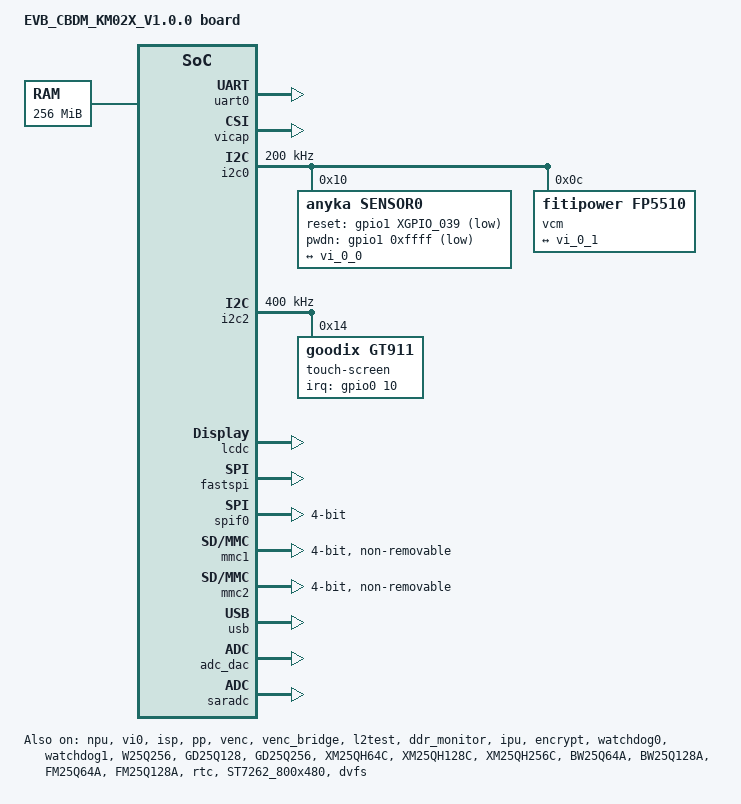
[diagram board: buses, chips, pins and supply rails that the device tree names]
// SPDX-License-Identifier: (GPL-2.0 OR MIT)
/* Copyright (c) 2020-2021 ANYKA, Inc */

#include "ak_km02-common.dtsi"
#include "ak_km02-norflash.dtsi"
#include "ak_lcd.dtsi"
#include "anycloud_ak3918av200_pinctrl.dtsi"

#define RESERVED_NPU_COMMNC_BASE      0x41400000
#define RESERVED_NPU_COMMNC_SIZE      0x8000 // 32KB
#define RESERVED_NPU_RUN_BASE         0x41408000
#define RESERVED_NPU_RUN_SIZE         0x2000000 // 16MB
#define RESERVED_ION_BASE             0x43408000
#define RESERVED_ION_SIZE             0x7000000 // 112MB
#define RESERVED_CMA_BASE             0x4a408000
#define RESERVED_CMA_SIZE             0x400000 // 4MB
//#define AK_PWR_CONSUMPTION_TEST

#define IMU 0

/* Clock frequency (in Hz) of the PCB crystal for rtcclk */
#define RTCCLK_FREQ		1000000

/ {
	#address-cells = <2>;
	#size-cells = <2>;
	model = "EVB_CBDM_KM02X_V1.0.0 board";
	compatible = "sifive,hifive-unleashed-a00", "sifive,fu540-c000";

	chosen {
		stdout-path = "serial0";
		/* Align with config_av200_256MB_action_camera_spinor_spl_fastsys.txt (16MB SPL, afht on SD) */
		bootargs = "console=ttySAK0,115200n8 root=/dev/mtdblock6 rootfstype=squashfs init=/sbin/init mtdparts=spi0.0:128K@0x0(SPL),128K@0x20000(OPENSBI),4K@0x40000(ENV),4K@0x41000(ENVBK),64K@0x42000(DTB),3584K@0x52000(KERNEL),3072K@0x3D2000(ROOTFS),512K@0x6D2000(CONFIG),8880K@0x752000(APP) mem=256M";
    };

	cpus {
		timebase-frequency = <RTCCLK_FREQ>;
	};

	memory@40000000 {
		device_type = "memory";
		reg =  <0x0 0x40000000 0x0 0x10000000>; /* 256M DDR Memory*/
	};

    /* Celestia SPL fastsys: no kernel isp_quick_start (see nova FASTSYS_LCD dts). */
    quick_start: quick_start {
        compatible = "anyka,isp_quick_start";
        status = "disable";
    };

	soc {
	};

	hfclk: hfclk {
		#clock-cells = <0>;
		compatible = "fixed-clock";
		clock-frequency = <33333333>;
		clock-output-names = "hfclk";
	};

	rtcclk: rtcclk {
		#clock-cells = <0>;
		compatible = "fixed-clock";
		clock-frequency = <RTCCLK_FREQ>;
		clock-output-names = "rtcclk";
	};

	reserved-memory {
        #address-cells = <2>;
        #size-cells = <2>;
        ranges;

        npu_commnc_reserved: npu_commnc_reserved@RESERVED_NPU_COMMNC_BASE {
	        size = <RESERVED_NPU_COMMNC_SIZE>;
	        reg = <0x0 RESERVED_NPU_COMMNC_BASE 0x0 RESERVED_NPU_COMMNC_SIZE>;
	        status = "okay";
	    };

        npu_run_reserved: npu_run_reserved@RESERVED_NPU_RUN_BASE {
	        size = <RESERVED_NPU_RUN_SIZE>;
	        reg = <0x0 RESERVED_NPU_RUN_BASE 0x0 RESERVED_NPU_RUN_SIZE>;
	        status = "okay";
	    };

        carveout_reserved: carveout_reserved@RESERVED_ION_BASE {
            // compatible = "shared-dma-pool";
            // linux,cma-default;
            // reusable;
            size = <RESERVED_ION_SIZE>;
            reg = <0x0 RESERVED_ION_BASE 0x0 RESERVED_ION_SIZE>;
            status = "okay";
        };

        cma_reserved: cma_reserved@RESERVED_CMA_BASE {
	        size = <RESERVED_CMA_SIZE>;
	        reg = <0x0 RESERVED_CMA_BASE 0x0 RESERVED_CMA_SIZE>;
	        status = "okay";
	    };        

        ramdisk_reserved: ramdisk_reserved@RESERVED_ION_BASE {
            size = <RESERVED_ION_SIZE>;
            reg = <0x0 RESERVED_ION_BASE 0x0 RESERVED_ION_SIZE>;
            /* Squashfs boot: no initrd; disable to avoid overlap with carveout_reserved */
            status = "disabled";
        };
	};

	ion {
		compatible = "anyka,ak3918av200-ion-reserve";
		#address-cells = <2>;
		#size-cells = <2>;
		memory-region = <&carveout_reserved>;
		ranges;

		ion_carveout_heap: ion_carveout_heap {
			base-address = <0x0 RESERVED_ION_BASE>;
			size = <0x0 RESERVED_ION_SIZE>;
			status = "okay";
		};
	};

	ramdisk:ramdisk@00000000{
		compatible = "anyka,ak3918av200-ramdisk";
		memory-region = <&ramdisk_reserved>;
		status = "disabled";
	};
};

&pinctrl {
	/**
	* "anyka,function": func index, please refer to dt-bindings/pinctrl/ak3918av200_pinctrl.h
	* "anyka,pull": configuration of the pins
	* Driving selector:
	* 	GPIO[54:35]: only select DRIVE_SEL0~DRIVE_SEL3
	*	GPIO[54:35]: select DRIVE_SEL0~DRIVE_SEL7
	* Delay config:
	*	DELAY(x), x is delay time, level1 corresponds to 10ps
	*/

	ethernet_rmii_pins: ethernet_rmii_pins {
		anyka,pins = <	XGPIO_006
						XGPIO_002
						XGPIO_003
						XGPIO_000
						XGPIO_001
						XGPIO_009
						XGPIO_008
						XGPIO_007
						XGPIO_005
						XGPIO_004>;
		anyka,function = <	XGPIO_006_FUNC_RMII_OPCLK
							XGPIO_002_FUNC_RMII_RXER
							XGPIO_003_FUNC_RMII_RXDV
							XGPIO_000_FUNC_RMII_MDIO
							XGPIO_001_FUNC_RMII_MDC
							XGPIO_009_FUNC_RMII_TEEN
							XGPIO_008_FUNC_RMII_TXD1
							XGPIO_007_FUNC_RMII_TXD0
							XGPIO_005_FUNC_RMII_RXD1
							XGPIO_004_FUNC_RMII_RXD0>;
		anyka,pull = <	(INPUT_EN|SLEW_EN|DRIVE_SEL7)
						(INPUT_EN|SLEW_EN|PULL_DOWN|PULL_DOWN_EN|DRIVE_SEL0)
						(INPUT_EN|SLEW_EN|PULL_DOWN|PULL_DOWN_EN|DRIVE_SEL0)
						(INPUT_EN|SLEW_EN|PULL_UP|PULL_UP_EN|DRIVE_SEL0)
						(INPUT_EN|SLEW_EN|PULL_DOWN|PULL_DOWN_EN|DRIVE_SEL0)
						(INPUT_EN|SLEW_EN|PULL_DOWN|PULL_DOWN_EN|DRIVE_SEL0)
						(INPUT_EN|PULL_DOWN|PULL_DOWN_EN|DRIVE_SEL0)
						(INPUT_EN|PULL_DOWN|PULL_DOWN_EN|DRIVE_SEL0)
						(INPUT_EN|SLEW_EN|PULL_DOWN|PULL_DOWN_EN|DRIVE_SEL0)
						(INPUT_EN|SLEW_EN|PULL_DOWN|PULL_DOWN_EN|DRIVE_SEL0)>;
	};

	// ethernet_rst_pins: ethernet_rst_pins {
	// 	anyka,pins = <XGPIO_019>;
	// 	anyka,function = <XGPIO_019_FUNC_GPIO19>;
	// 	anyka,pull = <(PULL_UP|INPUT_EN|PULL_UP_EN)>;
	// };

	mci1_pins: mci1_pins {
		anyka,pins = <XGPIO_027
						XGPIO_028
						XGPIO_029
						XGPIO_030
						XGPIO_031
						XGPIO_032>;
		anyka,function = <XGPIO_027_FUNC_SDIO0_DATA1
							XGPIO_028_FUNC_SDIO0_DATA0
							XGPIO_029_FUNC_SDIO0_CLK
							XGPIO_030_FUNC_SDIO0_CMD
							XGPIO_031_FUNC_SDIO0_DATA3
							XGPIO_032_FUNC_SDIO0_DATA2>;
		anyka,pull = <(INPUT_EN | PULL_UP | PULL_UP_EN)
						(INPUT_EN  | PULL_UP | PULL_UP_EN)
						(INPUT_EN | PULL_UP | PULL_UP_EN)
						(INPUT_EN | PULL_UP | PULL_UP_EN)
						(INPUT_EN | PULL_UP | PULL_UP_EN)
						(INPUT_EN | PULL_UP | PULL_UP_EN)>;
	};


	/*
	   when not use tf card, set to idle state,
	   to protect tf card and extend it's life.
	*/
	mci1_idle_pins: mci1_idle_pins {
		anyka,pins = <XGPIO_027
						XGPIO_028
						XGPIO_029
						XGPIO_030
						XGPIO_031
						XGPIO_032>;
		anyka,function = <XGPIO_027_FUNC_GPIO27
							XGPIO_028_FUNC_GPIO28
							XGPIO_029_FUNC_GPIO29
							XGPIO_030_FUNC_GPIO30
							XGPIO_031_FUNC_GPIO31
							XGPIO_032_FUNC_GPIO32>;
		anyka,pull = <0x0>;
	};

	/*
	   when not use tf card, set to idle state, the pin set to gpio function except mclk pin.
	   to protect tf card, extend it's life.
	*/
	mci1_idle_pins_clk: mci1_idle_pins_clk {
		anyka,pins = <XGPIO_027
						XGPIO_028
						XGPIO_029
						XGPIO_030
						XGPIO_031
						XGPIO_032>;
		anyka,function = <XGPIO_027_FUNC_GPIO27
							XGPIO_028_FUNC_GPIO28
							XGPIO_029_FUNC_SDIO0_CLK
							XGPIO_030_FUNC_GPIO30
							XGPIO_031_FUNC_GPIO31
							XGPIO_032_FUNC_GPIO32>;
		anyka,pull = <	(PULL_DOWN | PULL_DOWN_EN)
						(PULL_DOWN | PULL_DOWN_EN)
						(DIR_EN | INPUT_EN | PULL_UP | PULL_UP_EN) /* clk */
						(PULL_DOWN | PULL_DOWN_EN)
						(PULL_DOWN | PULL_DOWN_EN)
						(PULL_DOWN | PULL_DOWN_EN) >;
	};

	mci1_pins_d3_detect_mode: mci1_pins_d3_detect_mode {
		anyka,pins = <XGPIO_027
						XGPIO_028
						XGPIO_029
						XGPIO_030
						XGPIO_031
						XGPIO_032>;
		anyka,function = <XGPIO_027_FUNC_SDIO0_DATA1
							XGPIO_028_FUNC_SDIO0_DATA0
							XGPIO_029_FUNC_SDIO0_CLK
							XGPIO_030_FUNC_SDIO0_CMD
							XGPIO_031_FUNC_SDIO0_DATA3
							XGPIO_032_FUNC_SDIO0_DATA2>;
		anyka,pull = <	(INPUT_EN  | PULL_UP | PULL_UP_EN)
						(INPUT_EN  | PULL_UP | PULL_UP_EN)
						(INPUT_EN  | PULL_UP | PULL_UP_EN)
						(INPUT_EN  | PULL_UP | PULL_UP_EN)
						(INPUT_EN) /* disable pull down and pull up */
						(INPUT_EN  | PULL_UP | PULL_UP_EN)
						>;
	};

	/*
	   when not use tf card, set to idle state, the pin set to gpio function except dat3 pin.
	   to protect tf card, extend it's life.
	*/
	mci1_idle_pins_d3: mci1_idle_pins_d3 {
		anyka,pins = <XGPIO_027
						XGPIO_028
						XGPIO_029
						XGPIO_030
						XGPIO_031
						XGPIO_032>;
		anyka,function = <XGPIO_027_FUNC_GPIO27
							XGPIO_028_FUNC_GPIO28
							XGPIO_029_FUNC_GPIO29
							XGPIO_030_FUNC_GPIO30
							XGPIO_031_FUNC_SDIO0_DATA3
							XGPIO_032_FUNC_GPIO32>;
		anyka,pull = <	(PULL_DOWN | PULL_DOWN_EN )
						(PULL_DOWN | PULL_DOWN_EN)
						(PULL_DOWN | PULL_DOWN_EN)
						(PULL_DOWN | PULL_DOWN_EN)
						(INPUT_EN)	/* disable pull down and pull up */
						(PULL_DOWN | PULL_DOWN_EN) >;
	};

	mci2_pins: mci2_pins {
		anyka,pins = <XGPIO_004
					 XGPIO_005
					 XGPIO_006
					 XGPIO_007
					 XGPIO_008
					 XGPIO_009>;
		anyka,function = <XGPIO_004_FUNC_SDIO1_DATA1
						XGPIO_005_FUNC_SDIO1_DATA0
						XGPIO_006_FUNC_SDIO1_CLK
						XGPIO_007_FUNC_SDIO1_CMD
						XGPIO_008_FUNC_SDIO1_DATA3
						XGPIO_009_FUNC_SDIO1_DATA2>;
		anyka,pull = <(INPUT_EN | PULL_UP | PULL_UP_EN | DRIVE_SEL0)
						(INPUT_EN  | PULL_UP | PULL_UP_EN | DRIVE_SEL0)
						(INPUT_EN | PULL_UP | PULL_UP_EN | DRIVE_SEL0)
						(INPUT_EN | PULL_UP | PULL_UP_EN | DRIVE_SEL0)
						(INPUT_EN | PULL_UP | PULL_UP_EN | DRIVE_SEL0)
						(INPUT_EN | PULL_UP | PULL_UP_EN | DRIVE_SEL0)>;
	};
    lcd_rgb_pins: lcd_rgb_pins {
		anyka,pins = <
                     XGPIO_057  //LCD_VOGATE
                     XGPIO_058  //LCD_VOVSYNC
                     XGPIO_059  //LCD_VOHSYNC
                     XGPIO_060  //LCD_PCLK

                     XGPIO_061  //LCD_D0
					 XGPIO_062   //LCD_D1
					 XGPIO_063   //LCD_D2
					 XGPIO_064   //LCD_D3
					 XGPIO_065   //LCD_D4
					 XGPIO_066   //LCD_D5
					 XGPIO_067   //LCD_D6
                     XGPIO_068   //LCD_D7
                     XGPIO_069   //LCD_D8
					 XGPIO_070   //LCD_D9

					 XGPIO_071   //LCD_D10
					 XGPIO_072   //LCD_D11
					 XGPIO_073   //LCD_D12
					 XGPIO_074   //LCD_D13
					 XGPIO_075   //LCD_D14
					 XGPIO_076   //LCD_D15
					 XGPIO_077   //LCD_D16
					 XGPIO_078   //LCD_D17
					 XGPIO_079   //LCD_D18
					 XGPIO_080   //LCD_D19

					 XGPIO_081   //LCD_D20
					 XGPIO_082   //LCD_D21
					 XGPIO_083   //LCD_D22
					 XGPIO_084 >;//LCD_D23

		anyka,function = <	
                        XGPIO_057_FUNC_RGB_VOGATE
						XGPIO_058_FUNC_RGB_VOVSYNC
						XGPIO_059_FUNC_RGB_VOHSYNC
						XGPIO_060_FUNC_RGB_VOPCLK

                        XGPIO_061_FUNC_RGB_D0
						XGPIO_062_FUNC_RGB_D1
						XGPIO_063_FUNC_RGB_D2
						XGPIO_064_FUNC_RGB_D3
						XGPIO_065_FUNC_RGB_D4
						XGPIO_066_FUNC_RGB_D5
						XGPIO_067_FUNC_RGB_D6
						XGPIO_068_FUNC_RGB_D7
						XGPIO_069_FUNC_RGB_D8
						XGPIO_070_FUNC_RGB_D9
						XGPIO_071_FUNC_RGB_D10
						XGPIO_072_FUNC_RGB_D11
						XGPIO_073_FUNC_RGB_D12
						XGPIO_074_FUNC_RGB_D13
						XGPIO_075_FUNC_RGB_D14
						XGPIO_076_FUNC_RGB_D15
						XGPIO_077_FUNC_RGB_D16
						XGPIO_078_FUNC_RGB_D17
						XGPIO_079_FUNC_RGB_D18
						XGPIO_080_FUNC_RGB_D19
						XGPIO_081_FUNC_RGB_D20
						XGPIO_082_FUNC_RGB_D21
						XGPIO_083_FUNC_RGB_D22
						XGPIO_084_FUNC_RGB_D23 >;
		anyka,pull = <  (SLEW_EN|DRIVE_SEL0)
                        (SLEW_EN|DRIVE_SEL0)
                        (SLEW_EN|DRIVE_SEL0)
                        (SLEW_EN|DRIVE_SEL0)
                        (SLEW_EN|DRIVE_SEL0)
                        (SLEW_EN|DRIVE_SEL0)
                        (SLEW_EN|DRIVE_SEL0)
                        (SLEW_EN|DRIVE_SEL0)
                        (SLEW_EN|DRIVE_SEL0)
                        (SLEW_EN|DRIVE_SEL0)
                        (SLEW_EN|DRIVE_SEL0)
                        (SLEW_EN|DRIVE_SEL0)
                        (SLEW_EN|DRIVE_SEL0)
                        (SLEW_EN|DRIVE_SEL0)
                        (SLEW_EN|DRIVE_SEL0)
                        (SLEW_EN|DRIVE_SEL0)
                        (SLEW_EN|DRIVE_SEL0)
                        (SLEW_EN|DRIVE_SEL0)
                        (SLEW_EN|DRIVE_SEL0)
                        (SLEW_EN|DRIVE_SEL0)
                        (SLEW_EN|DRIVE_SEL0)
                        (SLEW_EN|DRIVE_SEL0)
                        (SLEW_EN|DRIVE_SEL0)
                        (SLEW_EN|DRIVE_SEL0)
                        (SLEW_EN|DRIVE_SEL0)
                        (SLEW_EN|DRIVE_SEL0)
                        (SLEW_EN|DRIVE_SEL0)
                        (SLEW_EN|DRIVE_SEL0) >;
	};
	lcd_rgb_pins_sleep: lcd_rgb_pins_sleep {
		anyka,pins = <
                     XGPIO_057  //LCD_VOGATE
                     XGPIO_058  //LCD_VOVSYNC
                     XGPIO_059  //LCD_VOHSYNC
                     XGPIO_060  //LCD_PCLK

                     XGPIO_061  //LCD_D0
					 XGPIO_062   //LCD_D1
					 XGPIO_063   //LCD_D2
					 XGPIO_064   //LCD_D3
					 XGPIO_065   //LCD_D4
					 XGPIO_066   //LCD_D5
					 XGPIO_067   //LCD_D6
                     XGPIO_068   //LCD_D7
                     XGPIO_069   //LCD_D8
					 XGPIO_070   //LCD_D9

					 XGPIO_071   //LCD_D10
					 XGPIO_072   //LCD_D11
					 XGPIO_073   //LCD_D12
					 XGPIO_074   //LCD_D13
					 XGPIO_075   //LCD_D14
					 XGPIO_076   //LCD_D15
					 XGPIO_077   //LCD_D16
					 XGPIO_078   //LCD_D17
					 XGPIO_079   //LCD_D18
					 XGPIO_080   //LCD_D19

					 XGPIO_081   //LCD_D20
					 XGPIO_082   //LCD_D21
					 XGPIO_083   //LCD_D22
					 XGPIO_084 >;//LCD_D23

		anyka,function = <	
                        XGPIO_057_FUNC_GPIO57
						XGPIO_058_FUNC_GPIO58
						XGPIO_059_FUNC_GPIO59
						XGPIO_060_FUNC_GPIO60

                        XGPIO_061_FUNC_GPIO61
						XGPIO_062_FUNC_GPIO62
						XGPIO_063_FUNC_GPIO63
						XGPIO_064_FUNC_GPIO64
						XGPIO_065_FUNC_GPIO65
						XGPIO_066_FUNC_GPIO66
						XGPIO_067_FUNC_GPIO67
						XGPIO_068_FUNC_GPIO68
						XGPIO_069_FUNC_GPIO69
						XGPIO_070_FUNC_GPIO70
						XGPIO_071_FUNC_GPIO71
						XGPIO_072_FUNC_GPIO72
						XGPIO_073_FUNC_GPIO73
						XGPIO_074_FUNC_GPIO74
						XGPIO_075_FUNC_GPIO75
						XGPIO_076_FUNC_GPIO76
						XGPIO_077_FUNC_GPIO77
						XGPIO_078_FUNC_GPIO78
						XGPIO_079_FUNC_GPIO79
						XGPIO_080_FUNC_GPIO80
						XGPIO_081_FUNC_GPIO81
						XGPIO_082_FUNC_GPIO82
						XGPIO_083_FUNC_GPIO83
						XGPIO_084_FUNC_GPIO84 >;
		anyka,pull = <0>;
	};

	lcd_reset_pins: lcd_reset_pins {
		anyka,pins = <XGPIO_003>;
		anyka,function = <XGPIO_003_FUNC_GPIO3>;
		anyka,pull = <0>;
	};

	lcd_power_pins: lcd_power_pins {
		anyka,pins = <XGPIO_029>;
		anyka,function = <XGPIO_029_FUNC_GPIO29>;
		anyka,pull = <0x0>;
	};
	lcd_backlight_pins: lcd_backlight_pins {
		anyka,pins = <XGPIO_019>;
		anyka,function = <XGPIO_019_FUNC_GPIO19>;
		anyka,pull = <0x0>;
	};

	mci2_idle_pins: mci2_idle_pins {
		anyka,pins = <XGPIO_004
					XGPIO_005
					XGPIO_006
					XGPIO_007
					XGPIO_008
					XGPIO_009>;
		anyka,function = <	XGPIO_004_FUNC_GPIO4
							XGPIO_005_FUNC_GPIO5
							XGPIO_006_FUNC_GPIO6
							XGPIO_007_FUNC_GPIO7
							XGPIO_008_FUNC_GPIO8
							XGPIO_009_FUNC_GPIO9>;
		anyka,pull = <0x0>;
	};

	wifi_en_pins: wifi_en_pins {
		anyka,pins = <XGPIO_000>;
		anyka,function = <XGPIO_000_FUNC_GPIO0>;
		anyka,pull = <(DIR_EN | DIR_OUTPUT | OUTPUT_EN | SLEW_EN | PULL_UP | PULL_UP_EN | OUT_LOW)>;
	};

	wifi_rst_pins: wifi_rst_pins {
		anyka,pins = <XGPIO_001>;
		anyka,function = <XGPIO_001_FUNC_GPIO1>;
		anyka,pull = <(DIR_EN | DIR_OUTPUT | OUTPUT_EN | SLEW_EN | PULL_UP | PULL_UP_EN | OUT_HIGH)>;
	};

	gpio84_low_pins: gpio84_low_pins {
		anyka,pins = <XGPIO_084>;
		anyka,function = <XGPIO_084_FUNC_GPIO84>;
		anyka,pull = <(DIR_EN | DIR_OUTPUT | OUTPUT_EN | SLEW_EN | PULL_DOWN | OUT_LOW)>;
	};

	mipi0_4lane_pins: mipi0_4lane_pins {
		anyka,pins = <	XGPIO_041
						XGPIO_042
						XGPIO_043
						XGPIO_044
						XGPIO_045
						XGPIO_046
						XGPIO_047
						XGPIO_048
						XGPIO_049
						XGPIO_050
						XGPIO_051
						XGPIO_052 >;
		anyka,function = <	XGPIO_041_FUNC_MIPI_RX_L0P
							XGPIO_042_FUNC_MIPI_RX_L0N
							XGPIO_043_FUNC_MIPI_RX_L1P
							XGPIO_044_FUNC_MIPI_RX_L1N
							XGPIO_045_FUNC_MIPI_RX_L2P
							XGPIO_046_FUNC_MIPI_RX_L2N
							XGPIO_047_FUNC_MIPI_RX_L3P
							XGPIO_048_FUNC_MIPI_RX_L3N
							XGPIO_049_FUNC_MIPI_RX_L4P
							XGPIO_050_FUNC_MIPI_RX_L4N
							XGPIO_051_FUNC_MIPI_RX_L5P
							XGPIO_052_FUNC_MIPI_RX_L5N	>;
		anyka,pull = <0>;
	};

	mipi0_3lane_pins: mipi0_3lane_pins {
		anyka,pins = <	XGPIO_041
						XGPIO_042
						XGPIO_043
						XGPIO_044
						XGPIO_045
						XGPIO_046
						XGPIO_047
						XGPIO_048
						XGPIO_049
						XGPIO_050
						XGPIO_051
						XGPIO_052 >;
		anyka,function = <	XGPIO_041_FUNC_MIPI_RX_L0P
							XGPIO_042_FUNC_MIPI_RX_L0N
							XGPIO_043_FUNC_MIPI_RX_L1P
							XGPIO_044_FUNC_MIPI_RX_L1N
							XGPIO_045_FUNC_MIPI_RX_L2P
							XGPIO_046_FUNC_MIPI_RX_L2N
							XGPIO_047_FUNC_MIPI_RX_L3P
							XGPIO_048_FUNC_MIPI_RX_L3N
							XGPIO_049_FUNC_MIPI_RX_L4P
							XGPIO_050_FUNC_MIPI_RX_L4N
							XGPIO_051_FUNC_MIPI_RX_L5P
							XGPIO_052_FUNC_MIPI_RX_L5N	>;
		anyka,pull = <0>;
	};

	mipi0_2lane_pins: mipi0_2lane_pins {
		anyka,pins = <	XGPIO_041
						XGPIO_042
						XGPIO_043
						XGPIO_044
						XGPIO_045
						XGPIO_046 >;
		anyka,function = <	XGPIO_041_FUNC_MIPI_RX_L0P
							XGPIO_042_FUNC_MIPI_RX_L0N
							XGPIO_043_FUNC_MIPI_RX_L1P
							XGPIO_044_FUNC_MIPI_RX_L1N
							XGPIO_045_FUNC_MIPI_RX_L2P
							XGPIO_046_FUNC_MIPI_RX_L2N >;
		anyka,pull = <0>;
	};

	mipi0_1lane_pins: mipi0_1lane_pins {
		anyka,pins = <	XGPIO_041
						XGPIO_042
						XGPIO_043
						XGPIO_044
						XGPIO_045
						XGPIO_046 >;
		anyka,function = <	XGPIO_041_FUNC_MIPI_RX_L0P
							XGPIO_042_FUNC_MIPI_RX_L0N
							XGPIO_043_FUNC_MIPI_RX_L1P
							XGPIO_044_FUNC_MIPI_RX_L1N
							XGPIO_045_FUNC_MIPI_RX_L2P
							XGPIO_046_FUNC_MIPI_RX_L2N >;
		anyka,pull = <0>;
	};

	csi0_sclk_pin: csi0_sclk_pin {
		anyka,pins = <	XGPIO_037 >;
		anyka,function = <	XGPIO_037_FUNC_CSI0_SCLK >;
		/*anyka,pull = <0>;*/
        anyka,pull = <(DRIVE_SEL2)>;
	};
    
    csi1_sclk_pin: csi1_sclk_pin {
        anyka,pins = <  XGPIO_038 >;
        anyka,function = <  XGPIO_038_FUNC_CSI1_SCLK >;
        anyka,pull = <0>;
    };

    // pwm_csi_pins: pwm_csi_pins {
    //     anyka,pins = < XGPIO_053
    //                     XGPIO_054 >;
    //     anyka,function = < XGPIO_053_FUNC_PWM_CSI0
    //                         XGPIO_054_FUNC_PWM_CSI1 >;
    //     anyka,pull = <0>;
    // };

    i2c0_pins: i2c0_pins {
        anyka,pins = <XGPIO_036 XGPIO_035>;
        anyka,function = <XGPIO_036_FUNC_I2C0_SDA XGPIO_035_FUNC_I2C0_SCL>;
        anyka,pull = <(PULL_UP|INPUT_EN|HOLD_EN|DRIVE_SEL2)>;
    };

    i2c1_pins: i2c1_pins {
        anyka,pins = <XGPIO_084 XGPIO_083>;
        anyka,function = <XGPIO_084_FUNC_I2C1_SDA XGPIO_083_FUNC_I2C1_SCL>;
        anyka,pull = <(PULL_UP|INPUT_EN|SLEW_EN|HOLD_EN|DRIVE_SEL0)>;
    };

    //mens
    i2c2_pins_imu: i2c2_pins_imu {
        anyka,pins = <XGPIO_018 XGPIO_017>;
        anyka,function = <XGPIO_018_FUNC_I2C2_SDA XGPIO_017_FUNC_I2C2_SCL>;
        anyka,pull = <(PULL_UP|INPUT_EN|SLEW_EN|HOLD_EN|DRIVE_SEL0)>;
    };

    i2c2_pins_tch: i2c2_pins_tch {
        anyka,pins = <XGPIO_054 XGPIO_053>;
        anyka,function = <XGPIO_054_FUNC_I2C2_SDA XGPIO_053_FUNC_I2C2_SCL>;
        anyka,pull = <(PULL_UP|INPUT_EN|SLEW_EN|HOLD_EN|DRIVE_SEL3)>;
    };

	motor0_pins: motor0_pins {
		anyka,pins = <XGPIO_027 XGPIO_028 XGPIO_029 XGPIO_030>;
		anyka,function = <0>;
		anyka,pull = <PULL_UP>;
	};

	motor1_pins: motor1_pins {
		anyka,pins = <XGPIO_021 XGPIO_022 XGPIO_023 XGPIO_024>;
		anyka,function = <0>;
		anyka,pull = <PULL_UP>;
	};

	pwm0_idle_pins: pwm0_idle_pins {
		anyka,pins = <XGPIO_055>;
		anyka,function = <XGPIO_055_FUNC_GPIO55>;
		anyka,pull = <(DIR_EN | DIR_OUTPUT | OUTPUT_EN | SLEW_EN | PULL_UP | PULL_UP_EN | OUT_LOW)>;
	};

	pwm1_idle_pins: pwm1_idle_pins {
		anyka,pins = <XGPIO_074>;
		anyka,function = <XGPIO_074_FUNC_GPIO74>;
		anyka,pull = <(DIR_EN | DIR_OUTPUT | OUTPUT_EN | SLEW_EN | PULL_UP | PULL_UP_EN | OUT_LOW)>;
	};

    imu_irq_pins: imu-interrupt {
		anyka,pins = <XGPIO_020>;
		anyka,function = <XGPIO_020_FUNC_GPIO20>;
		anyka,pull = <(INPUT_EN  | PULL_DOWN_EN | PULL_DOWN | DIR_INPUT | SLEW_EN)>;
	};

    lcd_display_pins: lcd_display_pins {
		anyka,pins = <XGPIO_003>;
		anyka,function = <XGPIO_003_FUNC_GPIO3>;
		anyka,pull = <(DIR_EN | DIR_OUTPUT | OUTPUT_EN | SLEW_EN | PULL_UP | PULL_UP_EN | DRIVE_SEL7)>;
	};

    spk_en_pins: spk_en_pins {
		anyka,pins = <XGPIO_002>;
		anyka,function = <XGPIO_002_FUNC_GPIO2>;
		anyka,pull = <(DIR_EN | DIR_OUTPUT | OUTPUT_EN | SLEW_EN | PULL_UP | PULL_UP_EN | DRIVE_SEL7)>;
	};

    gt9xx_pins: gt9xx_pins {
        anyka,pins = <XGPIO_010 XGPIO_038>;
        anyka,function = <XGPIO_010_FUNC_GPIO10 XGPIO_038_FUNC_GPIO38>;
        anyka,pull = <(PULL_UP|INPUT_EN|DRIVE_SEL1)>;
    };


};

&uart0 {
	pinctrl-names = "default";
	pinctrl-0 = <&uart0_pins>;
	status = "okay";
};

&uart1 {
	status = "disable";
};

&npu {
	status = "okay";
};

&quick_start {
    dual_mode = <1>;/*dual mode*/
    dual_stitch_mode = <0>;/*dual stitch mode*/
    dual_stitch_idex = <0>;/*0->sensor0 is first, 1->sensor1 is first*/
    dual_sensor0_no_capture = <0>;/*1: no capture, 0: capture*/
    dual_sensor1_no_capture = <0>;/*1: no capture, 0: capture*/

    ae_table_file = "/etc/config/lumi_ae_table.bin";
    day2night_threshold = <6>; /* 6: isp lumi; 82: adc value*/
    night2day_threshold = <7>;
    fastae_mode = <1>;/* 0: init with default ae, 1 : inift with prev backup ae */

    /*light_sensor*/
    light_sensor_enable = <0>; /* if set enable, "day2night_threshold " should set to <82> */
    ain_index =  <1>;/*0 --> ain0, 1 --> ain1*/

    status = "disable";
    venc_chn0_width = <1920>;
    venc_chn0_height = <1080>;
    venc_chn0_fps = <15>;
    venc_chn0_profile = <0>; /*0:H264-main, 4: H265-main, 8:JPEG*/
    venc_chn0_br_mode = <4>; /*0:cbr, 1: vbr, 4:avbr*/
    venc_chn0_initqp = <100>;
    venc_chn0_minqp = <25>;
    venc_chn0_maxqp = <48>;
    venc_chn0_maxbitrate = <1024>;
    venc_chn0_enc_level = <50>;
    venc_chn0_enc_out_type = <0>; /* 0:H264, 1:JPEG, 2:H265 */
    venc_chn0_max_frame_size = <0>; /* output stream buf szie(KB), 0: use default size */

    venc_chn1_bind_vi_chn = <2>; /* VIDEO_CHN2 */
    venc_chn1_width = <1920>;
    venc_chn1_height = <1080>;
    venc_chn1_fps = <15>;
    venc_chn1_profile = <8>; /*0:H264-main, 4: H265-main, 8:JPEG*/
    venc_chn1_br_mode = <1>; /*0:cbr, 1: vbr*/
    venc_chn1_initqp = <50>;
    venc_chn1_minqp = <25>;
    venc_chn1_maxqp = <50>;
    venc_chn1_maxbitrate = <1024>;
    venc_chn1_enc_level = <50>;
    venc_chn1_enc_out_type = <0>; /* 0:H264, 1:JPEG, 2:H265 */

    dev0_attr{
        vi_config_file = "/etc/config/vi_config.bin";
        //main chn info
        main_channel_width = <1920>;
        main_channel_height = <1080>;
        main_venc_mode = <1>;/*0:encode frame in user layer, 1:encode frame in kernel layer;*/
        main_chn_mode = <0>;/*0->fream, 1->slice*/
        main_chn_buf = <3>;/*fream:yuv buffer,  slice:slice num*/

        //sub chn info
        sub_channel_width = <640>;
        sub_channel_height = <360>;
        sub_venc_mode = <1>;/*0:encode frame in user layer, 1:encode frame in kernel layer;*/
        sub_chn_mode = <0>;/*0->fream, only frame*/
        sub_chn_buf = <3>;/*fream:yuv buffer*/

        //thd chn info
        third_channel_width = <320>;
        third_channel_height = <180>;
        thd_encode_mode = <1>;/*0:encode frame in user layer, 1:encode frame in kernel layer;*/
        thd_chn_mode = <0>;/*0->fream, only frame*/
        thd_chn_buf = <3>;/*fream:yuv buffer*/

        crop_left = <0>;
        crop_top = <0>;
        crop_width = <0>;
        crop_height = <0>;

        //main chn crop info
        main_crop_left = <0>;
        main_crop_top = <0>;
        main_crop_width = <0>;
        main_crop_height = <0>;

        //sub chn crop info
        sub_crop_left = <0>;
        sub_crop_top = <0>;
        sub_crop_width = <0>;
        sub_crop_height = <0>;

        //thd chn crop info
        thd_crop_left = <0>;
        thd_crop_top = <0>;
        thd_crop_width = <0>;
        thd_crop_height = <0>;

        day_night_mode_select = <0>; /* 0:irfeed light; 1: white light; 2: always day mode with light off;  3: always night mode with light on; 4: always day mode with light on;*/
        ircut_a_gpio = <&gpio1 XGPIO_059 1>;
        ircut_b_gpio = <&gpio1 0xffff 1>;
        irled_gpio = <&gpio1 XGPIO_026 1>;
        whiteled_gpio = <&gpio1 0xffff 0>;
        isp_cfg_file = "sensorid:2336,/etc/isp.conf";
    };

    dev1_attr{
        vi_config_file = "/etc/config/vi_config_2.bin";
        //main chn info
        main_channel_width = <1920>;
        main_channel_height = <1080>;
        main_venc_mode = <1>;/*0:encode frame in user layer, 1:encode frame in kernel layer;*/
        main_chn_mode = <1>;/*0->fream, 1->slice*/
        main_chn_buf = <4>;/*fream:yuv buffer,  slice:slice num*/

        //sub chn info
        sub_channel_width = <640>;
        sub_channel_height = <360>;
        sub_venc_mode = <1>;/*0:encode frame in user layer, 1:encode frame in kernel layer;*/
        sub_chn_mode = <0>;/*0->fream, only frame*/
        sub_chn_buf = <2>;/*fream:yuv buffer*/

        //thd chn info
        third_channel_width = <320>;
        third_channel_height = <180>;
        thd_encode_mode = <1>;/*0:encode frame in user layer, 1:encode frame in kernel layer;*/
        thd_chn_mode = <0>;/*0->fream, only frame*/
        thd_chn_buf = <2>;/*fream:yuv buffer*/

        crop_left = <0>;
        crop_top = <0>;
        crop_width = <0>;
        crop_height = <0>;

        //main chn crop info
        main_crop_left = <0>;
        main_crop_top = <0>;
        main_crop_width = <0>;
        main_crop_height = <0>;

        //sub chn crop info
        sub_crop_left = <0>;
        sub_crop_top = <0>;
        sub_crop_width = <0>;
        sub_crop_height = <0>;

        //thd chn crop info
        thd_crop_left = <0>;
        thd_crop_top = <0>;
        thd_crop_width = <0>;
        thd_crop_height = <0>;

        day_night_mode_select = <0>; /* 0:irfeed light; 1: white light; 2: always day mode with light off;  3: always night mode with l
        ight on; 4: always day mode with light on;*/
        ircut_a_gpio = <&gpio1 XGPIO_059 1>;
        ircut_b_gpio = <&gpio1 0xffff 1>;
        irled_gpio = <&gpio1 XGPIO_026 1>;
        whiteled_gpio = <&gpio1 0xffff 0>;
        isp_cfg_file = "sensorid:2336,/etc/isp.conf";
    };
};
&vi0{
    clocks =
        /* isp & vpp &vin */
        <&factor_pll3_clk PLL3_FACTOR_ISP>,
        <&factor_pll3_clk PLL3_FACTOR_PP>,
        <&factor_pll3_clk PLL3_FACTOR_VICAP>,
        <&factor_pll3_clk PLL3_FACTOR_ISS>,

        /* sclk */
        <&factor_osc24 OSC24_FACTOR_CSI0_SCLK>,
        //<&factor_osc24 OSC24_FACTOR_CSI1_SCLK>,

        /* mipi dphy cfgclk */
        <&factor_pll3_clk PLL3_FACTOR_MIPI_DPHY>;

    clock-names =
        /* isp & vpp &vin */
        "isp_clk",
        "vpp_clk",
        "vin_clk",
        "iss_clk",

        /* sclk */
        "csi0_sclk",
        //"csi1_sclk",

        /* mipi dphy cfgclk */
        "mipi_dphy_cfgclk";

    pinctrl-names =
        "mipi0_4lane",
        "mipi0_3lane",
        "mipi0_2lane",
        "mipi0_1lane",
        "csi0_sclk";
        //"csi1_sclk";
    pinctrl-0 = <&mipi0_4lane_pins>;
    pinctrl-1 = <&mipi0_3lane_pins>;
    pinctrl-2 = <&mipi0_2lane_pins>;
    pinctrl-3 = <&mipi0_1lane_pins>;
    pinctrl-4 = <&csi0_sclk_pin>;
    //pinctrl-5 = <&csi1_sclk_pin>;

	/* Vega 4-lane mux, same as ov8856.sh MIPI_LANES_SWAP=0x58D10:
	 * L0=D0 L1=D1 L2=D2 L3=D3 L4=C0 L5=C1.
	 */
	csi_mipi_lane_swap = <
		SENSOR_D0	//L0
		SENSOR_D1	//L1
		SENSOR_D2	//L2
		SENSOR_D3	//L3
		SENSOR_C0	//L4
		SENSOR_C1	//L5
		>;//MIPI_RX_L0~5.

	csi_mipi_dndp_swap = <
		MIPI_DNDP_NOSWAP	//L0
		MIPI_DNDP_NOSWAP	//L1
		MIPI_DNDP_NOSWAP	//L2
		MIPI_DNDP_NOSWAP	//L3
		MIPI_DNDP_NOSWAP	//L4
		MIPI_DNDP_NOSWAP	//L5
	>;//MIPI_RX_L0~5. 0: noswap; others: swap

    status = "okay";

	ports {
		#address-cells = <1>;
		#size-cells = <0>;

		port@0 {
			#address-cells = <1>;
			#size-cells = <0>;
			reg = <0>;

			vi_0_0: endpoint@0 {
				reg = <0>;
				remote-endpoint = <&sensor0_0>;
			};
			/*
			 * AF VCM media link (required for vcm_fp5510 v4l2_async subdev).
			 * Userspace AF: /dev/v4l-subdev* FOCUS_ABSOLUTE after async bind.
			 */
			vi_0_1: endpoint@1 {
				reg = <1>;
				vcm-ep;
				remote-endpoint = <&vcm0_1>;
			};
		};
#if 0
		port@1 {
			#address-cells = <1>;
			#size-cells = <0>;
			reg = <1>;

			vi_1_0: endpoint@0 {
				reg = <0>;
				remote-endpoint = <&sensor1_0>;
			};
		};
#endif
	};
};

&isp {
    status = "okay";
};

&vicap {
#if 0
    pinctrl-0 = <&pwm_csi_pins>;
    pinctrl-names = "pwm_csi";
#endif
    status = "okay";
};

&pp {
    status = "okay";
};

&i2c0 {
    pinctrl-names = "default";
    pinctrl-0 = <&i2c0_pins>;
    
    clock-frequency = <200000>;
    status = "okay";
	#address-cells = <1>;
	#size-cells = <0>;
    
	sensor0: camera@0x10{
		compatible = "anyka,sensor0";
		reg = <0x10>;

		/*0xffff means the gpio is invalid*/
		reset-gpio = <&gpio1 XGPIO_039 1>;
		// pwdn-gpio = <&gpio1 XGPIO_040 1>;

        //reset-gpio = <&gpio1 0xffff 1>;
		pwdn-gpio = <&gpio1 0xffff 1>;

		port {
			sensor0_0: endpoint@0 {
				remote-endpoint = <&vi_0_0>;
			};
		};
	};
#if 0
	sensor1: camera@0x32{
		compatible = "anyka,sensor0";
		reg = <0x32>;

		/*0xffff means the gpio is invalid*/
		reset-gpio = <&gpio1 XGPIO_039 1>;
		pwdn-gpio = <&gpio1 XGPIO_040 1>;
//		reset-gpio = <&gpio1 7 1>;
//		pwdn-gpio = <&gpio1 8 1>;

		port {
			sensor1_0: endpoint@0 {
				remote-endpoint = <&vi_1_0>;
			};
		};
	};
#endif
	/* OV8856 module AF VCM (Fitipower FP5510 @ 0x0c); media port → VI vcm-ep */
	vcm: fp5510@0x0c {
		compatible = "fitipower,fp5510";
		reg = <0x0c>;

		port {
			vcm0_1: endpoint@0 {
				remote-endpoint = <&vi_0_1>;
			};
		};
	};
};

#ifdef AK_PWR_CONSUMPTION_TEST
&i2c1 {
    pinctrl-names = "default";
    pinctrl-0 = <&i2c1_pins>;
    clock-frequency = <312000>;
    status = "disable";

    ina2xx_0: ina220@0x42{
    compatible = "anyka,sensor0_ina2xx";
    reg = <0x42>;
    };

    ina2xx_1: ina220@0x4a{
    compatible = "anyka,sensor1_ina2xx";
    reg = <0x4a>;
    };

    ina2xx_2: ina220@0x40{
    compatible = "anyka,sensor2_ina2xx";
    reg = <0x40>;
    };

    ina2xx_3: ina220@0x48{
    compatible = "anyka,sensor3_ina2xx";
    reg = <0x48>;
    };
};
#else
&i2c1 {
    pinctrl-names = "default";
    pinctrl-0 = <&i2c1_pins>;
    clock-frequency = <312000>;
    status = "disable";
};
#endif

&i2c1 {
    pinctrl-names = "default";
    pinctrl-0 = <&i2c1_pins>;
    clock-frequency = <312000>;
    status = "disable";
};


/*
  开发板的核心板引用i2c2，
  需修改硬件选择i2c
*/
#if IMU
&i2c2 {
    pinctrl-names = "default";
    pinctrl-0 = <&i2c2_pins_imu>;
    clock-frequency = <312000>;
    status = "okay";

    sc7i22: sc7i22@0x19{
        compatible = "anyka,ak-sc7i22";
        reg = <0x19>;
        pinctrl-0 = <&imu_irq_pins>;
        pinctrl-names = "default";
        label = "sc7i22_gpio_intterupt";
        gpios = <&gpio0 XGPIO_020 GPIO_ACTIVE_LOW>; //GPIO_ACTIVE_HIGH 1 GPIO_ACTIVE_LOW 0

        status = "okay";
    };
};
#else
&i2c2 {
    pinctrl-names = "default";
    pinctrl-0 = <&i2c2_pins_tch>;
    /* 40k→400k：GT911 支持 400kHz 快速模式。原 40kHz 使每次传输 ~2ms，
     * 触摸中断线程 90Hz 下烧 ~60% 单核（游戏多指慢放的根因）。 */
    clock-frequency = <400000>;
    status = "okay";

    touch-screen@14 {
        /* 内建主线 goodix 驱动（中断式），替换闭源 ts_gt9xx.ko。
         * 不可同时给 irq-gpios + reset-gpios——两 GPIO 齐全会触发
         * 驱动的"从磁盘加载配置"路径（goodix_911_cfg.bin），而本板
         * firmware_class.ko 在 probe 时段尚未加载，request_firmware_nowait
         * 返回 -22 导致 probe 失败。
         * 不给任何 gpios（中断经 interrupts-extended 获取），让 GPIO10
         * 保持 sysfs 可用，供启动脚本 INT 高脉冲唤醒睡眠态 GT911。 */
        compatible = "goodix,gt911";
        reg = <0x14>;
        pinctrl-names = "default";
        pinctrl-0 = <&gt9xx_pins>;
        /* INT=GPIO0 bank pin10，下降沿；实际触发类型由驱动按 IC 配置决定 */
        interrupts-extended = <&gpio0 10 2>;
        touchscreen-size-x = <800>;
        touchscreen-size-y = <480>;
        status = "okay";
    };
};
#endif


&i2c3 {
    pinctrl-names = "default";
    pinctrl-0 = <&i2c3_pins>;
    clock-frequency = <312000>;
    status = "disable";
};

&venc {
    status = "okay";
};

&venc_bridge{
     status = "okay";
};

&l2test{
	status = "okay";
};

&ddr_monitor{
	status = "okay";
};

&ethernet {
    pinctrl-names = "default";
    pinctrl-0 = <&ethernet_rmii_pins &gpio84_low_pins>; /* GPIO84: PHY power enable, active low */
    // reset-gpios = <&gpio2 XGPIO_084 0>; /* LAN_PWRON, active low power-cycle */
    phy-address = <2>;
    status = "disable";
};

/*
&ethernet {
    pinctrl-names = "default";
    pinctrl-0 = <&ethernet_rmii_pins &ethernet_rst_pins>;
    reset-gpios = <&gpio0 XGPIO_019 1>;
    phy-address = <1>;
    status = "okay";
};
*/

&lcdc {
    pinctrl-names = "default","sleep";
    pinctrl-0 = <&lcd_rgb_pins &lcd_display_pins>;
    pinctrl-1 = <&lcd_rgb_pins_sleep &lcd_display_pins>;
    //power-pins = <&gpio0 XGPIO_019 GPIO_ACTIVE_LOW>;
    /* GPIO19: high=power off, low=LCD_3V3 on */
    backlight-gpio = <&gpio0 XGPIO_019 GPIO_ACTIVE_LOW>;

    //set to resolution ratio
    lcd-logo-width = <800>; //note that need set equal to lcd panel-width at present
    lcd-logo-height = <480>;//note that need set equal to lcd panel-height at present
    //[fmt1:fmt0] 00 16bits input(RGB565 or BGR565)
    //[fmt1:fmt0] 01 24bits input(RGB888 or BGR888)
    //[fmt1:fmt0] 10 or 11 32bits input(ARGB888 ABGR888 RGBA888 BGRA888)
    lcd-logo-fmt0 = <1>;
    lcd-logo-fmt1 = <0>;
    lcd-logo-rgb-seq = <1>; //0 for BGR, 1 for RGB

    lcd-fb-type = <1>; //0:single buffer; 1:double buffer

    status = "okay";

};


&ipu {
    clock-frequency = <450000000>;
    status = "okay";
};

&encrypt {
    status = "okay";
};

&watchdog0 {
    status = "okay";
};

&watchdog1 {
    status = "okay";
};

&fastspi {
    pinctrl-names = "default";
    //pinctrl-0 = <&spiflash_pins &spi_nand_flash_cs_pins>;
    pinctrl-0 = <&spiflash_pins>;
    spi-bus-frequency = <100000000>;
    //spi-bus-frequency = <20000000>;
    /*
     * cap-spi-highspeed;
     * if defined, means high speed controller(Maximum 100M/s);
     * if not, means normal speed controller(below 50M/s)
     */
    cap-spi-highspeed;
    status = "okay";
};

&spi0 {
    pinctrl-names = "default";
    pinctrl-0 = <&spi0_pins>;
    spi-bus-frequency = <50000000>;
    status = "disable";

};

// nor-flash
&spif0 {
    /* spi flash data bus width:
    ** 1 means 1 wire mode.
    ** 2 means 2 wire mode
    ** 4 means 4 wire mode.
    ** default: 4 wire mode.
    **/
    bus-width = <4>;
    //bus-width = <1>;
    status = "okay";
};

&W25Q256{
    status = "okay";
};

&GD25Q128{
    status = "okay";
};

&GD25Q256{
    status = "okay";
};

&XM25QH64C{
    status = "okay";
};

&XM25QH128C{
    status = "okay";
};

&XM25QH256C{
    status = "okay";
};

&BW25Q64A{
    status = "okay";
};

&BW25Q128A{
    status = "okay";
};

&FM25Q64A{
    status = "okay";
};

&FM25Q128A{
    status = "okay";
};

&mmc1 {
    bus-width = <0x4>;
    max-frequency = <25000000>;
    cap-sd-highspeed;
    non-removable;
    pinctrl-names = "default","idle";
    pinctrl-0 = <&mci1_pins>;
    pinctrl-1 = <&mci1_idle_pins>;
    status = "okay"; 
};

#if 0
&mmc2 {
    bus-width = <0x1>;
    max-frequency = <400000>;
    non-removable;
    //cap-sdio;
    cap-sd-highspeed;
    /* if support sdio, using cap-sdio-irq*/
    cap-sdio-irq;
    pinctrl-names = "default","idle";
    pinctrl-0 = <&mci2_pins>;
    pinctrl-1 = <&mci2_idle_pins>;
    status = "okay"; 
};
#endif

&mmc2 {
    bus-width = <0x4>;
    max-frequency = <25000000>;
    non-removable;
    cap-sd-highspeed;
    /* if support sdio, using cap-sdio-irq*/
    cap-sdio-irq;
    pinctrl-names = "default","idle";
    pinctrl-0 = <&mci2_pins>,<&wifi_en_pins>,<&wifi_rst_pins>;
    pinctrl-1 = <&mci2_idle_pins>;
    power-pins = <&gpio0 XGPIO_000 1>;   //power-pins is which wifi_en_pins describes
    rst-pins =   <&gpio0 XGPIO_001 0>;    //rst-pins is which wifi_rst_pins describes
    status = "okay"; 
};

&usb {
    status = "okay";
};

&adc_dac {
    pinctrl-names = "default";
    // only ADC:
    //   pinctrl-0 = <&speaker_en_pins>;
    // PDM or ADC + PDM
    // pinctrl-0 = <&speaker_en_pins>,<&pdm_pins>;
    pinctrl-0 = <&spk_en_pins>;

    speak-gpios = <&gpio0 XGPIO_002 1>;
    /*
    * The level of speak-gpios votage for power on audio: 0=low, 1=high
    */
    speak-gpios-en = <1>;
    // only ADC Left MIC:
    // mic-info = <MIC_INFO_ADC_MIC0>;
    // only ADC Right MIC:
    // mic-info = <MIC_INFO_ADC_MIC1>;
    // ADC 2 MIC:
    // mic-info = <(MIC_INFO_ADC_MIC0|MIC_INFO_ADC_MIC1)>;
    // PDM 2 MIC:
    // mic-info = <(MIC_INFO_PDM0|MIC_INFO_PDM1)>;
    // PDM 4 MIC:
    // mic-info = <(MIC_INFO_PDM0|MIC_INFO_PDM1|MIC_INFO_PDM2|MIC_INFO_PDM3)>;
    mic-info = <MIC_INFO_ADC_MIC0>;
    spk-info = <SPK_INFO_DAC_HPOUT>;
    status = "okay";

    dev0 {
        snd-dev = <SND_CARD_DAC_PLAYBACK>;
        snd-type = <AK_PCM_DEV_PLAYBACK>;
    };

    dev1 {
        snd-dev = <SND_CARD_ADC_CAPTURE>;
        snd-type = <AK_PCM_DEV_CAPTURE>;
        mic_gain = <0x505>;
    };

    dev2 {
        snd-dev = <SND_CARD_DAC_LOOPBACK>;
        snd-type = <AK_PCM_DEV_LOOPBACK>;
    };

    // PDM device file
    /*
    dev3 {
        snd-dev = <SND_CARD_PDM_RECV>;
        snd-type = <AK_PCM_DEV_CAPTURE>;
    };
    */
};

&saradc{
	pinctrl-names = "default";
	/* AIN0/BAT is a dedicated package pin (no GPIO mux). Do not claim AIN1 pinctrl. */

	/* SAR ADC VREF selection
	* 0:To select AVCC 1.8V as VREF for SAR ADC.
	* 1:To select 1.6V generated from BGR as VREF for SAR ADC.
	*/
	vref-select = <0>;
	/*
	* 0:To disable BAT voltage divider.
	* 1:To enable BAT voltage divider divided by 4.
	*/
	battery-divider = <1>;
	/*
	* Sampling number
	* Read the sampling data for N times and then calculate the average value.
	* N ranges from 1 to 7.
	*/
	sampling-num = <3>;
	status = "okay";
};

&adkeys {
    /*
    * poll interval: ms
    * debounce interval: ms
    */
    interval = <120>;
    debounce_interval = <20>;
    /*
    * if pressed-input = 0, input 0 when key is pressed, else input 1.
    */
    pressed-input = <0>;
    status = "okay";

    addet0 {
        unpress_min = <0>;
        unpress_max = <1800>;
        adc_index = <1>;
        adc_channel = <0>;

        key1 {
            linux,code = <102>; /*HOME*/
            min = <0>;
            max = <50>;
        };

        key2 {
            linux,code = <103>; /*UP*/
            min = <300>;
            max = <350>;
        };

        key3 {
            linux,code = <108>; /*DOWN*/
            min = <600>;
            max = <650>;
        };

        key4 {
            linux,code = <105>; /*LEFT*/
            min = <1100>;
            max = <1200>;
        };

        key5 {
            linux,code = <106>; /*RIGHT*/
            min = <850>;
            max = <950>;
        };

        key6 {
            linux,code = <28>; /*OK*/
            min = <1400>;
            max = <1450>;
        };

        key7 {
            linux,code = <158>; /*RETURN*/
            min = <1650>;
            max = <1750>;
        };
    };
};

&gpiokeys {
	#address-cells = <1>;
	#size-cells = <0>;
	pinctrl-0 = <&gpiokey_pins>;
	pinctrl-names = "default";
	status = "okay";

	config {
		label = "config_key";
		gpios = <&gpio0 XGPIO_018 GPIO_ACTIVE_HIGH>;
		linux,code = <116>;
		debounce-interval = <100>;
	};

};

&leds {
	pinctrl-names = "default";
	pinctrl-0 = <&infrared_led_pins>,<&state_led_pins>;
	status = "disable";

	ir_led {
		label = "irled";
		gpios = <&gpio0 XGPIO_020 GPIO_ACTIVE_HIGH>;
	};

	state_led {
		label = "state_led";
		gpios = <&gpio2 XGPIO_075 GPIO_ACTIVE_HIGH>;
	};
};

&motor0 {
	/*
	 * part-number: part name
	 * pwm-tbl-cw: pwm table int clkwise
	 * pwm-pins: gpio list to motor
	 * steps-one-circle: total steps one circle (360degree)
	 *
	 * total-steps:	total steps the motor can run
	 * boundary-steps: reserve some step for each boudary
	 * attach-timer: timer for the motor
	 *					NOTE: different motor attach different timer
	 *
	 * speed-step: speed in step
	 */

	pinctrl-names = "default";
	pinctrl-0 = <&motor0_pins>;

	part-number = "HZF-24BYJ48";
	pwm-tbl-cw = <0x09 0x01 0x03 0x02 0x06 0x04 0x0c 0x08>;
	pwm-pins = <XGPIO_027 XGPIO_028 XGPIO_029 XGPIO_030>;//借用了t卡的引脚，注意冲突
	steps-one-circle = <4096>;
	total-steps = <2500>;
	boundary-steps = <50>;
	attach-timer = <1>; //devmem 0x80000c8

	speed-step = <200>;

	status = "disable";
};

&motor1 {
	/*
	 * part-number: part name
	 * pwm-tbl-cw: pwm table int clkwise
	 * pwm-pins: gpio list to motor
	 * steps-one-circle: total steps one circle (360degree)
	 *
	 * total-steps:	total steps the motor can run
	 * boundary-steps: reserve some step for each boudary
	 * attach-timer: timer for the motor
	 *					NOTE: different motor attach different timer
	 *
	 * speed-step: speed in step
	 */

	pinctrl-names = "default";
	pinctrl-0 = <&motor1_pins>;

	part-number = "HZF-24BYJ48";
	pwm-tbl-cw = <0x09 0x01 0x03 0x02 0x06 0x04 0x0c 0x08>;
	pwm-pins = <XGPIO_029 XGPIO_030 XGPIO_031 XGPIO_032>;
	steps-one-circle = <4096>;

	total-steps = <600>;
	boundary-steps = <50>;
	attach-timer = <2>;

	speed-step = <200>;

	status = "disable";
};

&rtc {

	status = "okay";
};

&pwm0 {
	pinctrl-names = "default","idle";
	pinctrl-0 = <&pwm0_pins>;
	pinctrl-1 = <&pwm0_idle_pins>;
	period-ns = <100000>;
	duty-ns = <15000>;
	pwm-enable = <1>;
	status = "disable";
};

&pwm1 {
	pinctrl-names = "default","idle";
	pinctrl-0 = <&pwm1_pins>;	//for LCD,not use
	pinctrl-1 = <&pwm1_idle_pins>;
	period-ns = <100000>;
	duty-ns = <15000>;
	pwm-enable = <1>;
	status = "disable";
};

&HT070GB {
    panel-pclk-rate = <51500000>;
    status = "disable";
};
&HX070WS0057BCB {
    panel-pclk-rate = <51500000>;
    status = "disable";
};
&NV720X1280 {
    status = "disable";
};
&ST7262_800x480
{
    status = "okay";
};

&dvfs {
    attach-timer = <2>;
    status = "okay";
};

